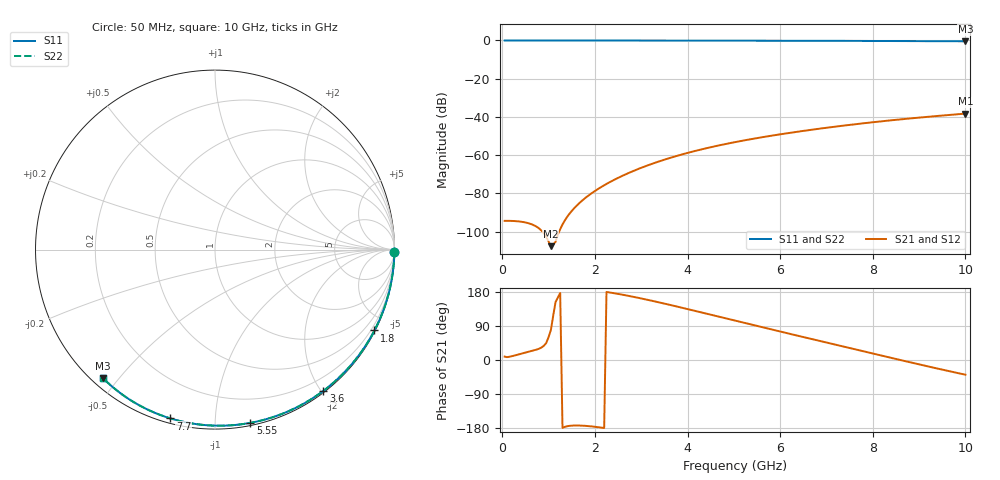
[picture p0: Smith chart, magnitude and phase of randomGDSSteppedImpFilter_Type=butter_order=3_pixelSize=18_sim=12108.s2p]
! freq	dB(S11)	phase(S11)	dB(S12)	phase(S12)
!  dB(S21)	phase(S21)	dB(S22)	phase(S22)
!S-par simulation data
#  GHz  S  DB  R 50
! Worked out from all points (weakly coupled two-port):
!   200 points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, 50 MHz to 10 GHz, reference 50 ohm
!   highest |S21| = -38.28 dB at 10 GHz (marker M1); lowest = -107.6 dB at 1.05 GHz (marker M2)
!   lowest |S11| = -0.4 dB at 10 GHz (marker M3), VSWR 39.00, Z = 1.55 - j22.7 ohm
!   |S11| at or under -10 dB: nowhere
!   |S22| runs from -0.4 to 0.0 dB; largest |S21 - S12| = 0
!   S11 on the Smith chart (normalised r, x): 50 MHz: open; 1.8 GHz: 0.04, -4.19; 3.6 GHz: 0.02, -2.03; 5.55 GHz: 0.02, -1.22; 7.7 GHz: 0.02, -0.77; 10 GHz: 0.03, -0.45
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0.05  -0.01 -0.8  -94.40 9.0  -94.40 9.0  -0.01 -0.7
0.55  -0.01 -8.3  -95.54 20.9  -95.54 20.9  -0.01 -8.3
1.05  -0.02 -15.8  -107.65 79.6  -107.65 79.6  -0.02 -15.8
1.75  -0.03 -26.1  -83.27 -173.4  -83.27 -173.4  -0.03 -26.1
1.8  -0.03 -26.9  -82.28 -173.8  -82.28 -173.8  -0.03 -26.9
1.9  -0.04 -28.3  -80.46 -174.9  -80.46 -174.9  -0.04 -28.3
1.95  -0.04 -29.1  -79.60 -175.5  -79.60 -175.5  -0.04 -29.1
2.25  -0.04 -33.4  -75.08 179.5  -75.08 179.5  -0.04 -33.4
2.55  -0.05 -37.7  -71.32 173.3  -71.32 173.3  -0.05 -37.7
2.95  -0.06 -43.4  -67.12 163.7  -67.12 163.7  -0.06 -43.4
3.4  -0.07 -49.8  -63.17 151.7  -63.17 151.7  -0.07 -49.8
3.6  -0.07 -52.5  -61.63 146.0  -61.63 146.0  -0.07 -52.5
3.9  -0.08 -56.7  -59.51 137.3  -59.51 137.3  -0.08 -56.7
4.3  -0.09 -62.1  -57.01 125.5  -57.01 125.5  -0.09 -62.1
5.05  -0.11 -72.0  -53.09 103.1  -53.09 103.1  -0.11 -72.0
5.55  -0.13 -78.5  -50.89 88.3  -50.89 88.3  -0.13 -78.5
6.1  -0.15 -85.4  -48.75 72.2  -48.75 72.2  -0.15 -85.4
6.7  -0.18 -92.8  -46.66 54.8  -46.66 54.8  -0.18 -92.8
7.7  -0.24 -104.8  -43.62 25.8  -43.62 25.8  -0.24 -104.8
8.35  -0.29 -112.4  -41.90 7.0  -41.90 7.0  -0.29 -112.4
9.15  -0.36 -121.5  -40.04 -15.8  -40.04 -15.8  -0.36 -121.5
10  -0.45 -131.1  -38.28 -38.8  -38.28 -38.8  -0.45 -131.1
